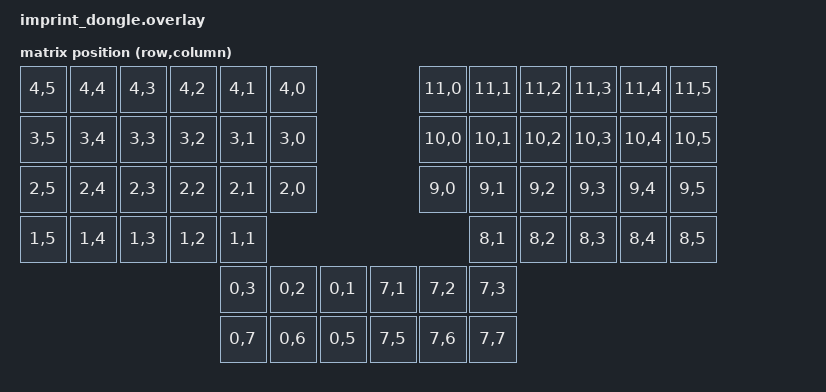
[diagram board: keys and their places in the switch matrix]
// Dongle 用最小 overlay。
// 物理キーは持たないため kscan は mock。matrix_transform / トラックボール
// listener ラベルは upstream imprint shield (Cyboard-DigitalTailor/zmk-keyboards)
// の imprint.dtsi から、user keymap (config/imprint.keymap) が参照する最低限
// のみコピーしている。upstream の imprint.dtsi 変更には追従が必要。

#include <dt-bindings/zmk/matrix_transform.h>
#include <input/processors.dtsi>
#include <dt-bindings/zmk/input_transform.h>

/ {
    chosen {
        zmk,kscan = &kscan_dongle;
        zmk,matrix-transform = &imprint_letters_only_full_bottom_row;
    };

    kscan_dongle: kscan_dongle {
        compatible = "zmk,kscan-mock";
        rows = <0>;
        columns = <0>;
        events = <0>;
    };

    imprint_letters_only_full_bottom_row: keymap_transform_8 {
        compatible = "zmk,matrix-transform";
        columns = <8>;
        rows = <14>;
        map = <
RC(4,5) RC(4,4) RC(4,3) RC(4,2) RC(4,1) RC(4,0)                           RC(11,0) RC(11,1) RC(11,2) RC(11,3) RC(11,4) RC(11,5)
RC(3,5) RC(3,4) RC(3,3) RC(3,2) RC(3,1) RC(3,0)                           RC(10,0) RC(10,1) RC(10,2) RC(10,3) RC(10,4) RC(10,5)
RC(2,5) RC(2,4) RC(2,3) RC(2,2) RC(2,1) RC(2,0)                           RC(9,0)  RC(9,1)  RC(9,2)  RC(9,3)  RC(9,4)  RC(9,5)
RC(1,5) RC(1,4) RC(1,3) RC(1,2) RC(1,1)                                            RC(8,1)  RC(8,2)  RC(8,3)  RC(8,4)  RC(8,5)
                                    RC(0,3) RC(0,2) RC(0,1)   RC(7,1) RC(7,2) RC(7,3)
                                    RC(0,7) RC(0,6) RC(0,5)   RC(7,5) RC(7,6) RC(7,7)
        >;
    };

    // 左右半分のトラックボール forward 受け口。peripheral 側が
    // device を設定して入力を BLE 経由で送ってくる。dongle(central)
    // 側ではこれらは proxy 役で device 不要(ZMK input_split.c の
    // central パス)。reg は peripheral 側と一致させる(右=0, 左=1)。
    split_inputs {
        #address-cells = <1>;
        #size-cells = <0>;

        trackball_peripheral_split: trackball_peripheral_split@0 {
            compatible = "zmk,input-split";
            reg = <0>;
        };

        trackball_central_split: trackball_central_split@1 {
            compatible = "zmk,input-split";
            reg = <1>;
        };
    };

    // 右トラックボール → 標準マウス
    trackball_peripheral_listener: trackball_peripheral_listener {
        compatible = "zmk,input-listener";
        device = <&trackball_peripheral_split>;
    };

    // 左トラックボール → user keymap で TRACKBALL_SCROLL_PROCESSORS が
    // 適用される(常時スクロール化)。listener 自体はここで enable し
    // device を split proxy に向けるだけで、processors は keymap 側。
    trackball_central_listener: trackball_central_listener {
        compatible = "zmk,input-listener";
        device = <&trackball_central_split>;
    };
};
